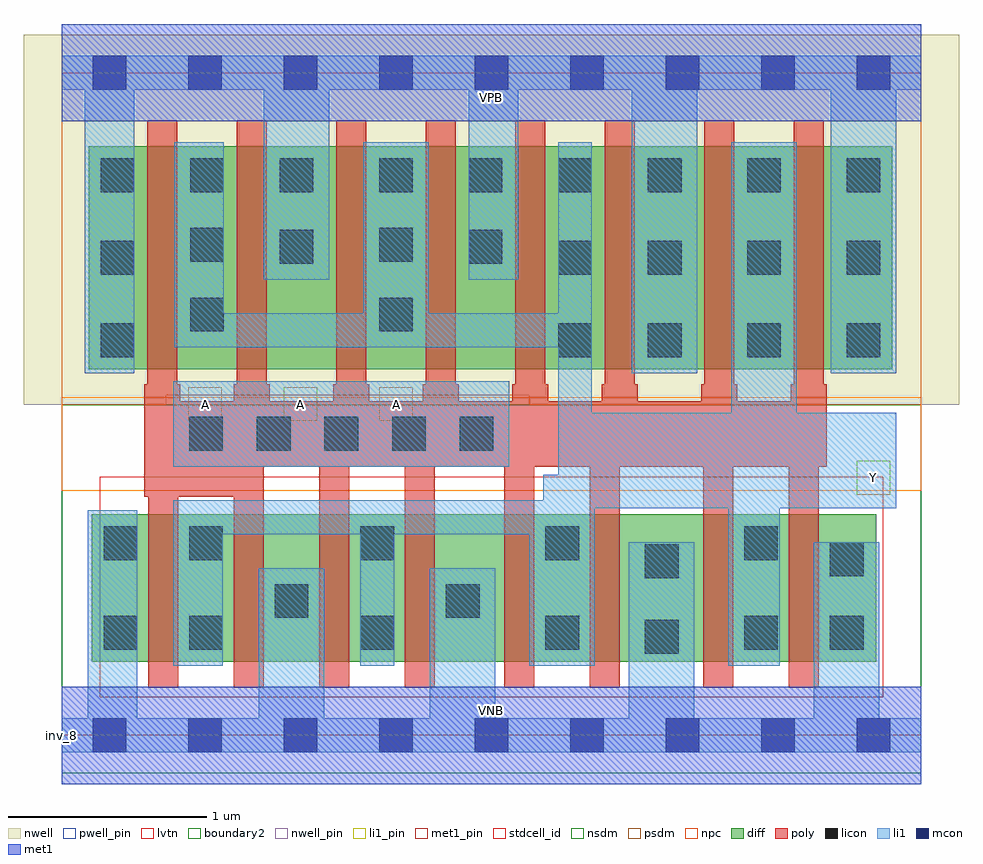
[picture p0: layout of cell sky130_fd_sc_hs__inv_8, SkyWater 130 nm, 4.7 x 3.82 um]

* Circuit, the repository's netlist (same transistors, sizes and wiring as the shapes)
* Copyright 2020 The SkyWater PDK Authors
*
* Licensed under the Apache License, Version 2.0 (the "License");
* you may not use this file except in compliance with the License.
* You may obtain a copy of the License at
*
*     https://www.apache.org/licenses/LICENSE-2.0
*
* Unless required by applicable law or agreed to in writing, software
* distributed under the License is distributed on an "AS IS" BASIS,
* WITHOUT WARRANTIES OR CONDITIONS OF ANY KIND, either express or implied.
* See the License for the specific language governing permissions and
* limitations under the License.
*
* SPDX-License-Identifier: Apache-2.0


.subckt sky130_fd_sc_hs__inv_8 A VGND VNB VPB VPWR Y
X0 VPWR A Y VPB sky130_fd_pr__pfet_01v8 w=1.12 l=150000u
X1 Y A VGND VNB sky130_fd_pr__nfet_01v8_lvt w=740000u l=150000u
X2 Y A VGND VNB sky130_fd_pr__nfet_01v8_lvt w=740000u l=150000u
X3 Y A VPWR VPB sky130_fd_pr__pfet_01v8 w=1.12 l=150000u
X4 VGND A Y VNB sky130_fd_pr__nfet_01v8_lvt w=740000u l=150000u
X5 Y A VPWR VPB sky130_fd_pr__pfet_01v8 w=1.12 l=150000u
X6 Y A VPWR VPB sky130_fd_pr__pfet_01v8 w=1.12 l=150000u
X7 VGND A Y VNB sky130_fd_pr__nfet_01v8_lvt w=740000u l=150000u
X8 Y A VGND VNB sky130_fd_pr__nfet_01v8_lvt w=740000u l=150000u
X9 Y A VPWR VPB sky130_fd_pr__pfet_01v8 w=1.12 l=150000u
X10 VPWR A Y VPB sky130_fd_pr__pfet_01v8 w=1.12 l=150000u
X11 VGND A Y VNB sky130_fd_pr__nfet_01v8_lvt w=740000u l=150000u
X12 VGND A Y VNB sky130_fd_pr__nfet_01v8_lvt w=740000u l=150000u
X13 VPWR A Y VPB sky130_fd_pr__pfet_01v8 w=1.12 l=150000u
X14 Y A VGND VNB sky130_fd_pr__nfet_01v8_lvt w=740000u l=150000u
X15 VPWR A Y VPB sky130_fd_pr__pfet_01v8 w=1.12 l=150000u
.ends

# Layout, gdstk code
import gdstk
lib = gdstk.Library(unit=1e-6, precision=1e-09)
def R(c, l, rs):  # rectangles x0, y0, x1, y1
    for r in rs: c.add(gdstk.rectangle(r[:2], r[2:], *l))
def A(c, l, x, y, w, h, nx, ny, dx, dy):  # array of equal rectangles
    R(c, l, [(x+i*dx, y+j*dy, x+i*dx+w, y+j*dy+h) for i in range(nx) for j in range(ny)])
def P(c, l, *ps):  # polygons
    for p in ps: c.add(gdstk.Polygon(p, *l))
nwell_pin = (64, 16)
nwell = (64, 20)
diff = (65, 20)
poly = (66, 20)
licon = (66, 44)
li1_pin = (67, 16)
li1 = (67, 20)
mcon = (67, 44)
met1_pin = (68, 16)
met1 = (68, 20)
stdcell_id = (81, 4)
nsdm = (93, 44)
psdm = (94, 20)
npc = (95, 20)
pwell_pin = (122, 16)
lvtn = (125, 44)
boundary2 = (236, 0)

sky130_fd_sc_hs__inv_8 = lib.new_cell('sky130_fd_sc_hs__inv_8')
R(sky130_fd_sc_hs__inv_8, nwell_pin, [(0,3.085,4.32,3.33)])
R(sky130_fd_sc_hs__inv_8, nwell, [(-0.19,1.66,4.51,3.52)])
R(sky130_fd_sc_hs__inv_8, diff, [(0.15,0.37,4.095,1.11), (0.135,1.84,4.175,2.96)])
P(sky130_fd_sc_hs__inv_8, poly, [(0.435,0.24),(0.435,1.2),(0.415,1.2),(0.415,1.765),(0.43,1.765),(0.43,3.09),(0.58,3.09),(0.58,1.765),(0.595,1.765),(0.595,1.68),(0.865,1.68),(0.865,1.765),(0.88,1.765),(0.88,3.09),(1.03,3.09),(1.03,1.765),(1.045,1.765),(1.045,1.68),(1.365,1.68),(1.365,1.765),(1.38,1.765),(1.38,3.09),(1.53,3.09),(1.53,1.765),(1.545,1.765),(1.545,1.68),(1.815,1.68),(1.815,1.765),(1.83,1.765),(1.83,3.09),(1.98,3.09),(1.98,1.765),(1.995,1.765),(1.995,1.68),(2.265,1.68),(2.265,1.765),(2.28,1.765),(2.28,3.09),(2.43,3.09),(2.43,1.765),(2.445,1.765),(2.445,1.68),(2.715,1.68),(2.715,1.765),(2.73,1.765),(2.73,3.09),(2.88,3.09),(2.88,1.765),(2.895,1.765),(2.895,1.68),(3.215,1.68),(3.215,1.765),(3.23,1.765),(3.23,3.09),(3.38,3.09),(3.38,1.765),(3.395,1.765),(3.395,1.68),(3.665,1.68),(3.665,1.765),(3.68,1.765),(3.68,3.09),(3.83,3.09),(3.83,1.765),(3.845,1.765),(3.845,1.35),(3.805,1.35),(3.805,0.24),(3.655,0.24),(3.655,1.35),(3.375,1.35),(3.375,0.24),(3.225,0.24),(3.225,1.35),(2.805,1.35),(2.805,0.24),(2.655,0.24),(2.655,1.35),(2.375,1.35),(2.375,0.24),(2.225,0.24),(2.225,1.35),(1.875,1.35),(1.875,0.24),(1.725,0.24),(1.725,1.35),(1.445,1.35),(1.445,0.24),(1.295,0.24),(1.295,1.35),(1.015,1.35),(1.015,0.24),(0.865,0.24),(0.865,1.2),(0.585,1.2),(0.585,0.24)])
A(sky130_fd_sc_hs__inv_8, licon, 0.64, 1.43, 0.17, 0.17, 5, 1, 0.34, 0)
A(sky130_fd_sc_hs__inv_8, licon, 2.945, 1.9, 0.17, 0.17, 3, 2, 0.5, 0.415)
A(sky130_fd_sc_hs__inv_8, licon, 0.195, 2.73, 0.17, 0.17, 3, 1, 0.45, 0)
A(sky130_fd_sc_hs__inv_8, licon, 1.595, 2.73, 0.17, 0.17, 4, 1, 0.45, 0)
R(sky130_fd_sc_hs__inv_8, licon, [(2.93,0.41,3.1,0.58), (0.21,0.43,0.38,0.6), (0.64,0.43,0.81,0.6), (1.5,0.43,1.67,0.6), (2.43,0.43,2.6,0.6), (3.43,0.43,3.6,0.6), (3.86,0.43,4.03,0.6), (1.07,0.59,1.24,0.76), (1.93,0.59,2.1,0.76), (2.93,0.79,3.1,0.96), (3.86,0.8,4.03,0.97), (0.21,0.88,0.38,1.05), (0.64,0.88,0.81,1.05), (1.5,0.88,1.67,1.05), (2.43,0.88,2.6,1.05), (3.43,0.88,3.6,1.05), (0.195,1.9,0.365,2.07), (2.495,1.9,2.665,2.07), (0.645,2.03,0.815,2.2), (1.595,2.03,1.765,2.2), (0.195,2.315,0.365,2.485), (2.495,2.315,2.665,2.485), (1.095,2.37,1.265,2.54), (2.045,2.37,2.215,2.54), (0.645,2.38,0.815,2.55), (1.595,2.38,1.765,2.55), (3.445,2.73,3.615,2.9), (3.945,2.73,4.115,2.9)])
A(sky130_fd_sc_hs__inv_8, li1_pin, 0.635, 1.58, 0.17, 0.17, 3, 1, 0.48, 0)
R(sky130_fd_sc_hs__inv_8, li1_pin, [(3.995,1.21,4.165,1.38)])
R(sky130_fd_sc_hs__inv_8, li1, [(0.56,1.35,2.25,1.78)])
P(sky130_fd_sc_hs__inv_8, li1, [(0.115,1.82),(0.115,3.245),(0,3.245),(0,3.415),(4.32,3.415),(4.32,3.245),(4.195,3.245),(4.195,1.82),(3.865,1.82),(3.865,3.245),(3.195,3.245),(3.195,1.82),(2.865,1.82),(2.865,3.245),(2.295,3.245),(2.295,2.29),(2.045,2.29),(2.045,3.245),(1.345,3.245),(1.345,2.29),(1.015,2.29),(1.015,3.245),(0.365,3.245),(0.365,1.82)],
  [(0,-0.085),(0,0.085),(0.13,0.085),(0.13,1.13),(0.38,1.13),(0.38,0.085),(0.99,0.085),(0.99,0.84),(1.32,0.84),(1.32,0.085),(1.85,0.085),(1.85,0.84),(2.18,0.84),(2.18,0.085),(2.85,0.085),(2.85,0.97),(3.18,0.97),(3.18,0.085),(3.78,0.085),(3.78,0.97),(4.11,0.97),(4.11,0.085),(4.32,0.085),(4.32,-0.085)],
  [(0.56,0.35),(0.56,1.18),(2.42,1.18),(2.42,1.31),(2.495,1.31),(2.495,1.95),(0.565,1.95),(0.565,2.98),(0.815,2.98),(0.815,2.12),(1.515,2.12),(1.515,2.98),(1.845,2.98),(1.845,2.12),(2.495,2.12),(2.495,2.98),(2.665,2.98),(2.665,1.62),(3.365,1.62),(3.365,2.98),(3.695,2.98),(3.695,1.62),(4.195,1.62),(4.195,1.14),(3.61,1.14),(3.61,0.35),(3.35,0.35),(3.35,1.14),(2.68,1.14),(2.68,0.35),(2.35,0.35),(2.35,1.01),(1.67,1.01),(1.67,0.35),(1.5,0.35),(1.5,1.01),(0.81,1.01),(0.81,0.35)])
A(sky130_fd_sc_hs__inv_8, mcon, 0.155, -0.085, 0.17, 0.17, 9, 2, 0.48, 3.33)
R(sky130_fd_sc_hs__inv_8, met1_pin, [(0,-0.245,4.32,0.245), (0,3.085,4.32,3.575)])
R(sky130_fd_sc_hs__inv_8, met1, [(0,-0.245,4.32,0.245), (0,3.085,4.32,3.575)])
R(sky130_fd_sc_hs__inv_8, stdcell_id, [(0,0,4.32,3.33)])
R(sky130_fd_sc_hs__inv_8, nsdm, [(0,-0.19,4.32,1.66)])
P(sky130_fd_sc_hs__inv_8, psdm, [(0,1.66),(0,3.52),(4.32,3.52),(4.32,1.66),(2.35,1.66),(2.35,1.71),(0.525,1.71),(0.525,1.66)])
R(sky130_fd_sc_hs__inv_8, npc, [(0,1.23,4.32,1.7)])
R(sky130_fd_sc_hs__inv_8, pwell_pin, [(0,0,4.32,0.245)])
R(sky130_fd_sc_hs__inv_8, lvtn, [(0.19,0.19,4.13,1.3)])
R(sky130_fd_sc_hs__inv_8, boundary2, [(0,0,4.32,3.33)])
sky130_fd_sc_hs__inv_8.add(gdstk.Label('inv_8', (0,0), layer=83, texttype=44))
sky130_fd_sc_hs__inv_8.add(gdstk.Label('VNB', (2.16,0.123), layer=64, texttype=59))
sky130_fd_sc_hs__inv_8.add(gdstk.Label('VPB', (2.16,3.208), layer=64, texttype=5))
sky130_fd_sc_hs__inv_8.add(gdstk.Label('VPWR', (2.16,3.208), layer=68, texttype=5))
sky130_fd_sc_hs__inv_8.add(gdstk.Label('VGND', (2.16,0.123), layer=68, texttype=5))
sky130_fd_sc_hs__inv_8.add(gdstk.Label('A', (0.72,1.665), layer=67, texttype=5))
sky130_fd_sc_hs__inv_8.add(gdstk.Label('A', (1.2,1.665), layer=67, texttype=5))
sky130_fd_sc_hs__inv_8.add(gdstk.Label('A', (1.68,1.665), layer=67, texttype=5))
sky130_fd_sc_hs__inv_8.add(gdstk.Label('Y', (4.08,1.295), layer=67, texttype=5))

lib.write_gds('sky130_fd_sc_hs__inv_8.gds')
